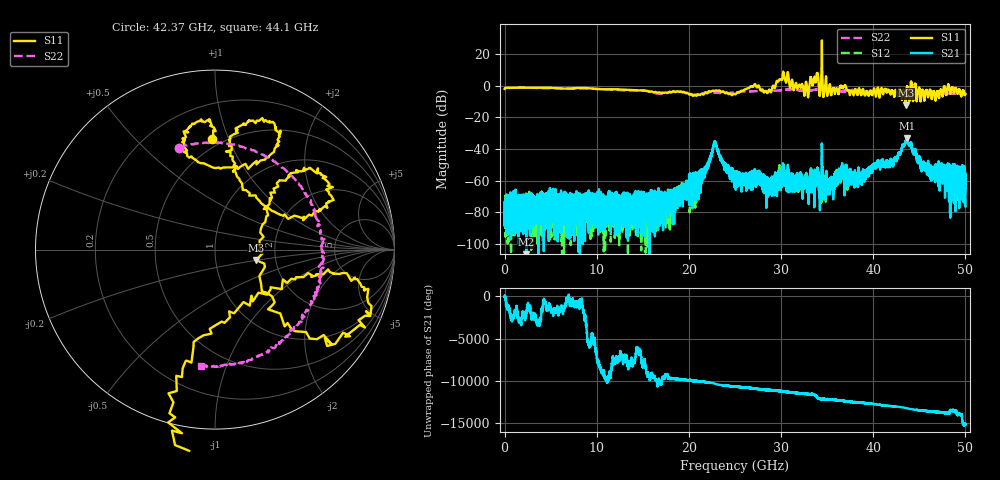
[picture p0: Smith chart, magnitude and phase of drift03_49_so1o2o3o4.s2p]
!Created with skrf (http://scikit-rf.org).
# Hz S RI R 50.0
!freq ReS11 ImS11 ReS21 ImS21 ReS12 ImS12 ReS22 ImS22
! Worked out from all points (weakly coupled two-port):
!   10000 points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, 5.3 MHz to 50 GHz, reference 50 ohm
!   highest |S21| = -33.17 dB at 43.64 GHz (marker M1); lowest = -117.3 dB at 2.355 GHz (marker M2)
!   lowest |S11| = -12.5 dB at 43.53 GHz (marker M3), VSWR 1.62, Z = 79 - j9.58 ohm
!   |S11| at or under -10 dB: 43.48571 GHz to 43.55442 GHz (68.71 MHz wide, 0.158 % of centre); 45.13887 GHz to 45.14039 GHz (1.52 MHz wide, 0.00337 % of centre)
!   |S22| runs from -5.9 to -1.3 dB; largest |S21 - S12| = 0.0091
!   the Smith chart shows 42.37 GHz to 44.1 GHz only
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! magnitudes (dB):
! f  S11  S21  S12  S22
! 5.3 MHz  -2.1  -73.7  -77.3  -2.1
! 2.355 GHz  -1.4  -117.3  -75.1  -1.3
! 8.34 GHz  -1.5  -77.2  -78.9  -1.9
! 16.67 GHz  -4.4  -81.5  -79.9  -5.2
! 20.84 GHz  -6.4  -58.3  -59.1  -5.7
! 21.87 GHz  -4.6  -53.9  -51.6  -4.4
! 22.82 GHz  -3.4  -35.5  -35.3  -4.5
! 25.01 GHz  -5.5  -58.2  -57.8  -4.3
! 27.02 GHz  -0.3  -59.0  -55.0  -3.5
! 28.72 GHz  -2.5  -61.2  -65.6  -3.5
! 30.14 GHz  4.4  -55.9  -56.3  -2.8
! 32.74 GHz  2.0  -55.1  -61.9  -3.3
! 33.34 GHz  2.6  -58.2  -56.1  -2.9
! 34.99 GHz  -5.9  -68.0  -62.1  -2.4
! 36.46 GHz  -0.5  -56.0  -56.9  -3.6
! 38.09 GHz  -2.5  -56.8  -59.5  -2.8
! 41.67 GHz  -2.9  -50.1  -50.8  -3.7
! 43.53 GHz  -12.5  -35.4  -35.3  -4.2
! 43.64 GHz  -1.5  -33.2  -33.3  -4.0
! 46.23 GHz  -3.8  -53.9  -53.0  -5.5
! 49.67 GHz  -4.3  -58.4  -56.8  -5.0
! 50 GHz  -5.3  -56.7  -77.7  -5.0
